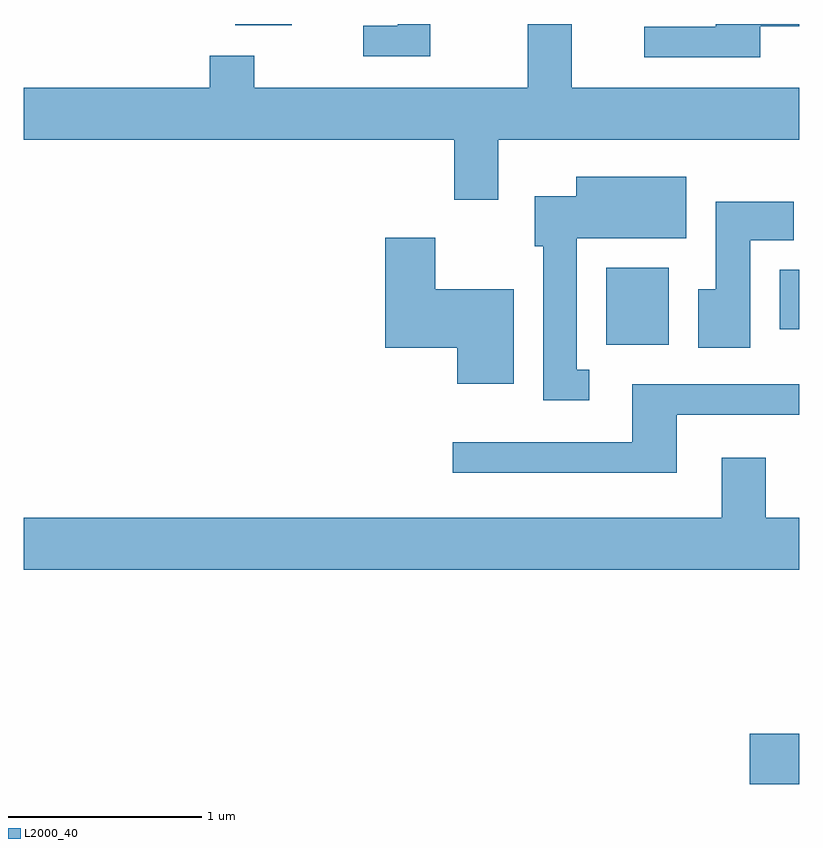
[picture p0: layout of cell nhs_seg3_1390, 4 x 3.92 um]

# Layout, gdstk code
import gdstk
lib = gdstk.Library(unit=1e-6, precision=1e-09)
def R(c, l, rs):  # rectangles x0, y0, x1, y1
    for r in rs: c.add(gdstk.rectangle(r[:2], r[2:], *l))
def P(c, l, *ps):  # polygons
    for p in ps: c.add(gdstk.Polygon(p, *l))
L2000_40 = (2000, 40)

nhs_seg3_1390 = lib.new_cell('nhs_seg3_1390')
R(nhs_seg3_1390, L2000_40, [(229.356,1175.971,229.611,1176.229), (228.616,1178.236,228.939,1178.634), (229.511,1178.316,229.611,1178.624), (226.701,1179.886,226.994,1179.892)])
P(nhs_seg3_1390, L2000_40, [(228.059,1179.296),(229.611,1179.296),(229.611,1179.564),(228.439,1179.564),(228.439,1179.892),(228.211,1179.892),(228.211,1179.564),(226.799,1179.564),(226.799,1179.729),(226.571,1179.729),(226.571,1179.564),(225.611,1179.564),(225.611,1179.296),(227.831,1179.296),(227.831,1178.986),(228.059,1178.986)],
  [(229.409,1179.881),(229.611,1179.881),(229.611,1179.892),(229.181,1179.892),(229.181,1179.879),(228.813,1179.879),(228.813,1179.721),(229.409,1179.721)],
  [(227.709,1179.892),(227.541,1179.892),(227.541,1179.884),(227.363,1179.884),(227.363,1179.726),(227.709,1179.726)],
  [(228.528,1178.109),(228.464,1178.109),(228.464,1178.786),(229.029,1178.786),(229.029,1179.104),(228.461,1179.104),(228.461,1179.004),(228.246,1179.004),(228.246,1178.746),(228.291,1178.746),(228.291,1177.951),(228.528,1177.951)],
  [(229.359,1178.776),(229.584,1178.776),(229.584,1178.974),(229.181,1178.974),(229.181,1178.524),(229.091,1178.524),(229.091,1178.221),(229.359,1178.221)],
  [(228.139,1178.524),(227.734,1178.524),(227.734,1178.789),(227.476,1178.789),(227.476,1178.221),(227.846,1178.221),(227.846,1178.036),(228.139,1178.036)],
  [(228.979,1177.876),(229.611,1177.876),(229.611,1178.034),(228.751,1178.034),(228.751,1177.734),(227.823,1177.734),(227.823,1177.576),(228.979,1177.576)],
  [(229.611,1177.344),(229.439,1177.344),(229.439,1177.654),(229.211,1177.654),(229.211,1177.344),(225.611,1177.344),(225.611,1177.076),(229.611,1177.076)])

lib.write_gds('nhs_seg3_1390.gds')
